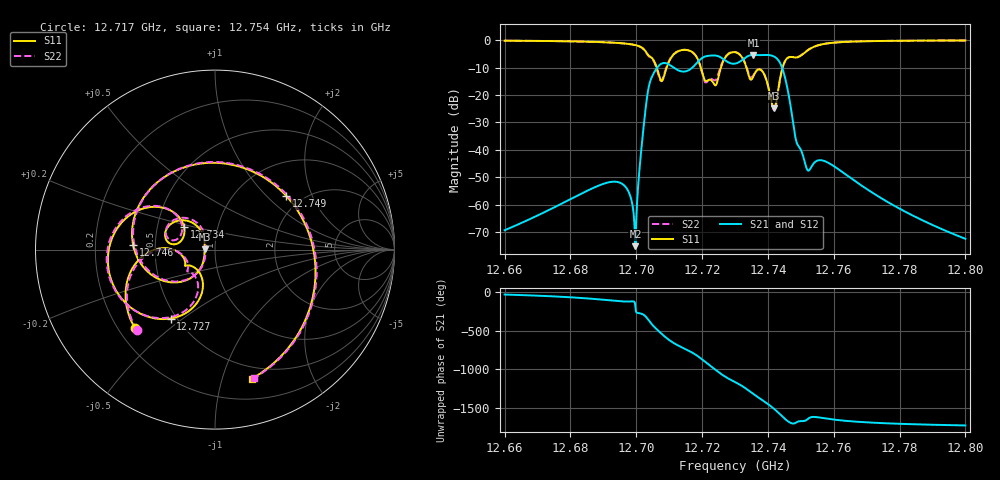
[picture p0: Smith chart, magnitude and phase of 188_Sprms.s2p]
! TOUCHSTONE file generated by CST MICROWAVE STUDIO
! Date and time: Wed Jul 31 20:24:56 2024
! Project name: WaveGuide_BPF-Ver4.1_U-shape_Ku_T3_C4_CWA_2.cst
! Parameters = {cavity_h=16; cavity_l0=10; cavity_l1=15.2197; cavity_l2=16.8383; cavity_l3=17.1228; cavity_l4=17.2718; cavity_l5=17.1376; cavity_l6=17.6196; cavity_r=2.5; cavity_screw_l=0.5; cavity_screw_r=1.5; cavity_w=8; iris_h00=0; iris_h01=8.8381; iris_h112=0; iris_h12=5.611; iris_h211=3.6658; i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
! Header version: 2018
! Port assignment regex: !\s*Touchstone port\s*([0-9]+)\s*=\s*(CST MWS port|CST DS port)\s*([0-9]+|Zmin|Zmax)\s*\(\"(.*)\"\)(\s*mode\s*([0-9]+))?.*
! Touchstone port assignment:
! Touchstone port 1 = CST MWS port 1 ("")
! Touchstone port 2 = CST MWS port 2 ("")
# GHz S RI R 50
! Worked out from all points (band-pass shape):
!   5001 points, 12.66 GHz to 12.8 GHz, reference 50 ohm
!   highest |S21| = -5.40 dB at 12.736 GHz (marker M1); lowest = -75.0 dB at 12.7 GHz (marker M2)
!   |S21| within 3 dB of the highest: 12.71837 GHz to 12.72855 GHz (10.18 MHz wide, 0.08 % of centre); 12.73057 GHz to 12.74372 GHz (13.15 MHz wide, 0.103 % of centre) (the widest 2 of 3)
!   lowest |S11| = -24.8 dB at 12.742 GHz (marker M3), VSWR 1.12, Z = 44.5 + j0.129 ohm
!   |S11| at or under -10 dB: 12.70621 GHz to 12.70924 GHz (3.034 MHz wide, 0.0239 % of centre); 12.71962 GHz to 12.72573 GHz (6.115 MHz wide, 0.0481 % of centre); 12.73347 GHz to 12.74445 GHz (10.98 MHz wide, 0.0862 % of centre)
!   |S22| runs from -25.6 to -0.1 dB; largest |S21 - S12| = 1e-09
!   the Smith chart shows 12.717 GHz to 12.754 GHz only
!   S11 on the Smith chart (normalised r, x): 12.717 GHz: 0.27, -0.38; 12.727 GHz: 0.46, -0.45; 12.734 GHz: 0.69, +0.18; 12.746 GHz: 0.37, +0.02; 12.749 GHz: 1.67, +1.32; 12.754 GHz: 0.38, -1.25
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12.66  0.4886 0.8438  0.000286 -0.000194  0.000286 -0.000194  0.4875 0.8447
12.68335  0.9037 0.2586  0.000312 -0.00157  0.000312 -0.00157  0.9019 0.2666
12.69525  0.7153 -0.51  -0.00131 -0.00213  -0.00131 -0.00213  0.7224 -0.5001
12.69973  0.2625 -0.7659  -0.000173 3.64e-05  -0.000173 3.64e-05  0.2698 -0.7611
12.70334  -0.2593 -0.4985  0.0931 0.0297  0.0931 0.0297  -0.2555 -0.4857
12.70668  -0.241 0.0826  -0.2612 -0.2056  -0.2612 -0.2056  -0.2166 0.1008
12.71074  0.4169 -0.2601  0.0825 0.3241  0.0825 0.3241  0.4255 -0.2661
12.71662  -0.4466 -0.4372  0.1642 -0.2517  0.1642 -0.2517  -0.4355 -0.4473
12.72104  -0.1744 -0.0465  -0.4988 0.0793  -0.4988 0.0793  -0.1583 -0.0585
12.72367  -0.1245 -0.0943  0.045 0.5231  0.045 0.5231  -0.1311 -0.1296
12.72681  -0.2477 -0.384  0.427 -0.0856  0.427 -0.0856  -0.278 -0.3807
12.73  -0.5966 -0.0718  0.0228 -0.3716  0.0228 -0.3716  -0.6034 -0.0585
12.73431  -0.1723 0.1252  -0.4853 0.1922  -0.4853 0.1922  -0.1848 0.137
12.7356  -0.2188 0.0307  -0.2526 0.4736  -0.2526 0.4736  -0.2267 0.0522
12.73918  -0.1465 0.1583  0.5208 0.1268  0.5208 0.1268  -0.1325 0.1686
12.74184  -0.0577 0.00144  0.1518 -0.4785  0.1518 -0.4785  -0.0523 0.00767
12.74568  -0.4559 0.0245  -0.1163 0.1028  -0.1163 0.1028  -0.4504 0.0323
12.74946  0.3979 0.2984  -0.0067 0.00922  -0.0067 0.00922  0.4049 0.3009
12.75335  0.2872 -0.6653  -0.0051 -8.72e-05  -0.0051 -8.72e-05  0.3 -0.6598
12.75383  0.2054 -0.719  -0.00561 -0.00023  -0.00561 -0.00023  0.2189 -0.7147
12.77668  -0.9654 -0.0586  -0.000162 0.00109  -0.000162 0.00109  -0.965 -0.0596
12.8  -0.9158 0.36  7.57e-05 0.000229  7.57e-05 0.000229  -0.9148 0.3622
